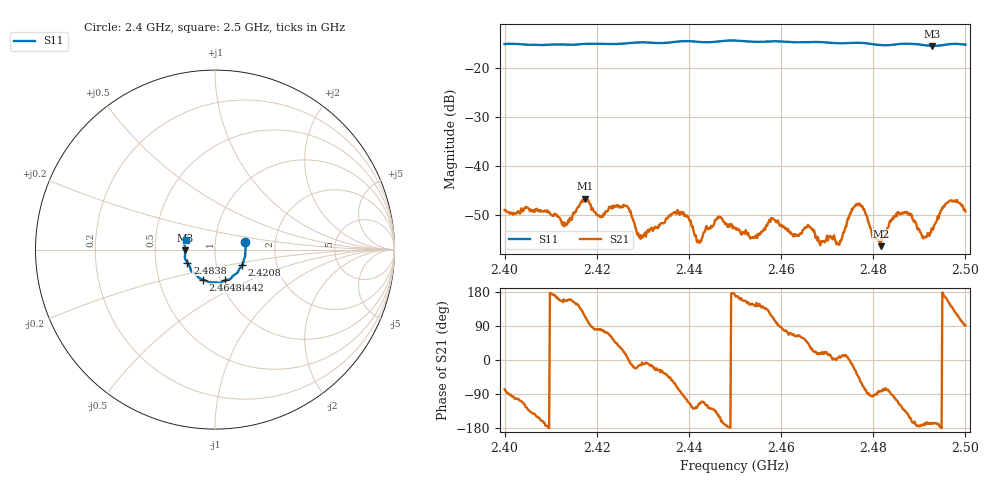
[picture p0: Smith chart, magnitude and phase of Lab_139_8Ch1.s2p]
# Hz S RI R 50
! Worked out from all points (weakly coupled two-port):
!   601 points, 2.4 GHz to 2.5 GHz, reference 50 ohm
!   highest |S21| = -46.57 dB at 2.4175 GHz (marker M1); lowest = -56.2 dB at 2.4817 GHz (marker M2)
!   lowest |S11| = -15.6 dB at 2.4928 GHz (marker M3), VSWR 1.40, Z = 35.8 - j0.353 ohm
!   |S11| at or under -10 dB: start of sweep to end of sweep
!   S12 and S22 are empty: the file has one direction only
!   S11 on the Smith chart (normalised r, x): 2.4 GHz: 1.40, +0.12; 2.4208 GHz: 1.33, -0.24; 2.4442 GHz: 1.05, -0.37; 2.4648 GHz: 0.83, -0.29; 2.4838 GHz: 0.73, -0.11; 2.5 GHz: 0.72, +0.08
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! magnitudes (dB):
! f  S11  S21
! 2.4 GHz  -15.2  -48.9
! 2.413 GHz  -15.3  -52.2
! 2.4167 GHz  -15.2  -47.1
! 2.4175 GHz  -15.2  -46.6
! 2.4208 GHz  -15.2  -50.4
! 2.4263 GHz  -15.1  -48.0
! 2.4293 GHz  -14.9  -54.0
! 2.4333 GHz  -15.0  -52.6
! 2.4372 GHz  -14.8  -49.6
! 2.4422 GHz  -14.8  -55.1
! 2.4442 GHz  -14.9  -52.8
! 2.45 GHz  -14.5  -52.5
! 2.4648 GHz  -14.9  -52.9
! 2.4667 GHz  -14.8  -52.8
! 2.4725 GHz  -15.1  -55.9
! 2.4768 GHz  -15.0  -47.8
! 2.4817 GHz  -15.4  -56.2
! 2.4833 GHz  -15.5  -52.3
! 2.4838 GHz  -15.4  -51.2
! 2.4928 GHz  -15.6  -52.7
! 2.4963 GHz  -15.3  -47.2
! 2.5 GHz  -15.3  -49.2
